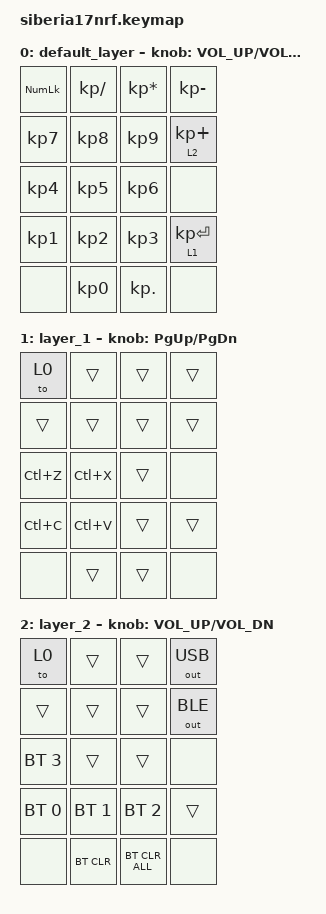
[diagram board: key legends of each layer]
#include <behaviors.dtsi>
#include <dt-bindings/zmk/keys.h>
#include <dt-bindings/zmk/bt.h>
#include <dt-bindings/zmk/outputs.h>

#define BASE        0
#define LAYER       1
#define BT          2

/ {

    behaviors {
        to_layer: layer_tap {
            compatible = "zmk,behavior-hold-tap";
            #binding-cells = <2>;
            flavor = "tap-preferred";
            tapping-term-ms = <2000>;
            bindings = <&tog>, <&kp>;
            display-name = "Layer-Tap";
        };
    };
    keymap {
        compatible = "zmk,keymap";
        
        default_layer {
            bindings = <
                &kp KP_NUM  &kp KP_SLASH   &kp KP_ASTERISK   &kp KP_MINUS
                &kp KP_N7      &kp KP_N8       &kp KP_N9     &to_layer 2 KP_PLUS
                &kp KP_N4      &kp KP_N5       &kp KP_N6     &none
                &kp KP_N1    &kp KP_N2      &kp KP_N3        &to_layer 1 KP_ENTER
                &none         &kp KP_N0      &kp KP_DOT      &none
            >;
            sensor-bindings = <&inc_dec_kp C_VOL_UP C_VOL_DN>;
        };
        
        layer_1 {
            bindings = <
                &to 0         &trans         &trans          &trans
                &trans        &trans         &trans          &trans
                &kp LC(Z)     &kp LC(X)      &trans          &none
                &kp LC(C)     &kp LC(V)      &trans          &trans
                &none         &trans         &trans          &none
            >;
            sensor-bindings = <&inc_dec_kp PG_UP PG_DN>;
        };
        
        layer_2 {
            bindings = <
                &to 0         &trans         &trans          &out OUT_USB
                &trans        &trans         &trans          &out OUT_BLE
                &bt BT_SEL 3  &trans         &trans          &none
                &bt BT_SEL 0  &bt BT_SEL 1   &bt BT_SEL 2    &trans
                &none         &bt BT_CLR     &bt BT_CLR_ALL  &none
            >;
            sensor-bindings = <&inc_dec_kp C_VOL_UP C_VOL_DN>;
        };
    };
};
